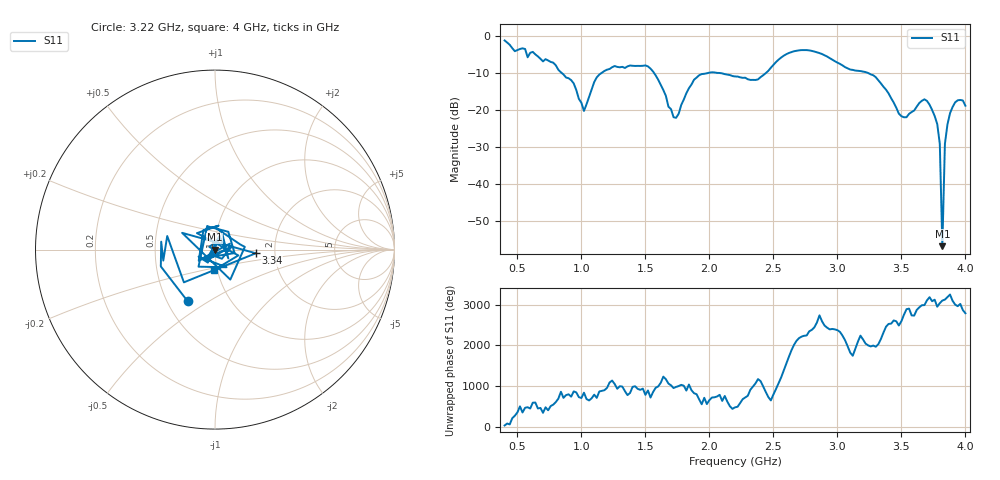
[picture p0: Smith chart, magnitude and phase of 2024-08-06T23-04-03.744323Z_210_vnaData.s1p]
!Created with skrf (http://scikit-rf.org).
# Hz S RI R 50.0
!freq ReS11 ImS11
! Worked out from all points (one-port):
!   181 points, 400 MHz to 4 GHz, reference 50 ohm
!   lowest |S11| = -56.9 dB at 3.82 GHz (marker M1), VSWR 1.00, Z = 49.9 - j0.0922 ohm
!   |S11| at or under -10 dB: 1.567 GHz to 1.99 GHz (422.6 MHz wide, 23.8 % of centre); 2.077 GHz to 2.442 GHz (365.4 MHz wide, 16.2 % of centre); 3.24 GHz to end of sweep (the widest 3 of 4)
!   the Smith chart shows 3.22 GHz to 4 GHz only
!   S11 on the Smith chart (normalised r, x): 3.22 GHz: 0.63, -0.41; 3.34 GHz: 1.59, -0.07; 4 GHz: 0.97, -0.22
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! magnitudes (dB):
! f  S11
! 400 MHz  -1.2
! 860 MHz  -10.4
! 940 MHz  -12.8
! 1.02 GHz  -20.3
! 1.12 GHz  -11.2
! 1.3 GHz  -8.5
! 1.52 GHz  -8.2
! 1.6 GHz  -11.8
! 1.72 GHz  -22.0
! 1.76 GHz  -21.0
! 1.92 GHz  -10.6
! 2.2 GHz  -10.9
! 2.38 GHz  -11.7
! 2.66 GHz  -4.1
! 2.86 GHz  -4.6
! 3.1 GHz  -9.1
! 3.22 GHz  -9.8
! 3.34 GHz  -12.8
! 3.48 GHz  -21.0
! 3.56 GHz  -21.1
! 3.68 GHz  -17.1
! 3.78 GHz  -23.8
! 3.8 GHz  -29.2
! 3.82 GHz  -56.9
! 3.84 GHz  -29.2
! 3.86 GHz  -23.9
! 3.92 GHz  -18.0
! 4 GHz  -18.9
